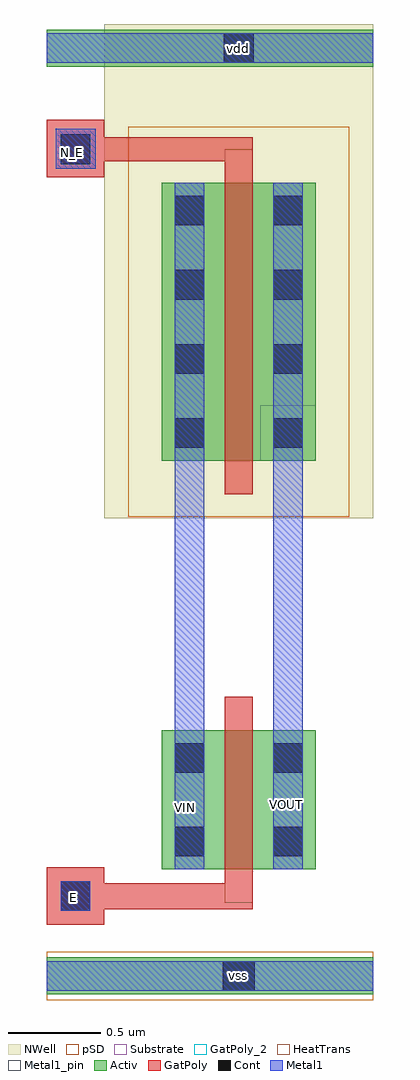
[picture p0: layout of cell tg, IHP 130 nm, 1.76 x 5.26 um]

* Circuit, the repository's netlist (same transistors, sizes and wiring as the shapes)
* Extracted by KLayout with SG13G2 LVS runset on : 12/03/2026 18:13

.SUBCKT tg
M$1 \$5 \$2 \$6 \$4 sg13_lv_nmos L=0.15u W=0.75u AS=0.255p AD=0.255p PS=2.18u
+ PD=2.18u
M$2 \$5 \$3 \$6 \$1 sg13_lv_pmos L=0.15u W=1.5u AS=0.51p AD=0.51p PS=3.68u
+ PD=3.68u
.ENDS tg

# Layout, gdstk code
import gdstk
lib = gdstk.Library(unit=1e-6, precision=5e-09)
def R(c, l, rs):  # rectangles x0, y0, x1, y1
    for r in rs: c.add(gdstk.rectangle(r[:2], r[2:], *l))
def A(c, l, x, y, w, h, nx, ny, dx, dy):  # array of equal rectangles
    R(c, l, [(x+i*dx, y+j*dy, x+i*dx+w, y+j*dy+h) for i in range(nx) for j in range(ny)])
Activ = (1, 0)
GatPoly = (5, 0)
GatPoly_2 = (5, 2)
Cont = (6, 0)
Metal1 = (8, 0)
Metal1_pin = (8, 2)
pSD = (14, 0)
NWell = (31, 0)
Substrate = (40, 0)
HeatTrans = (51, 0)

pmos_1 = lib.new_cell('pmos$1')
R(pmos_1, Activ, [(0,0,0.3,0.3), (0,0,0.83,1.5), (0.53,0,0.83,0.3)])
R(pmos_1, GatPoly, [(0.34,-0.18,0.49,1.68), (0.34,-0.18,0.49,1.68)])
A(pmos_1, Cont, 0.07, 0.07, 0.16, 0.16, 1, 4, 0, 0.4)
A(pmos_1, Cont, 0.6, 0.07, 0.16, 0.16, 1, 4, 0, 0.4)
R(pmos_1, Metal1, [(0.07,0,0.23,1.5), (0.07,0,0.23,1.5), (0.6,0,0.76,1.5), (0.6,0,0.76,1.5)])
R(pmos_1, pSD, [(-0.18,-0.3,1.01,1.8)])
R(pmos_1, NWell, [(-0.31,-0.31,1.14,1.81)])
R(pmos_1, Substrate, [(0.53,0,0.83,0.3)])
R(pmos_1, HeatTrans, [(0.34,-0.18,0.49,1.68)])
pmos_1.add(gdstk.Label('pmos', (0.415,0.75), layer=63, texttype=0))
pmos_1.add(gdstk.Label('pmos', (0.415,0.75), layer=51, texttype=0))

nmos_1 = lib.new_cell('nmos$1')
R(nmos_1, Activ, [(0,0,0.3,0.3), (0,0,0.83,0.75), (0.53,0,0.83,0.3)])
R(nmos_1, GatPoly, [(0.34,-0.18,0.49,0.93)])
R(nmos_1, GatPoly_2, [(0.34,-0.18,0.49,0.93)])
R(nmos_1, Cont, [(0.07,0.07,0.23,0.23), (0.6,0.07,0.76,0.23), (0.07,0.52,0.23,0.68), (0.6,0.52,0.76,0.68)])
R(nmos_1, Metal1, [(0.07,0,0.23,0.75), (0.6,0,0.76,0.75)])
R(nmos_1, Metal1_pin, [(0.07,0,0.23,0.75), (0.6,0,0.76,0.75)])
R(nmos_1, HeatTrans, [(0.34,-0.18,0.49,0.93)])
nmos_1.add(gdstk.Label('nmos', (0.415,0.375), layer=63, texttype=0))
nmos_1.add(gdstk.Label('nmos', (0.415,0.375), layer=51, texttype=0))

c_tg = lib.new_cell('tg')
R(c_tg, Activ, [(-1.035,-0.1,0.725,0.1), (-1.035,4.9,0.725,5.1)])
R(c_tg, GatPoly, [(-1.035,0.275,-0.725,0.585), (-0.725,0.36,0.075,0.5), (-1.035,4.305,-0.725,4.615), (-0.725,4.39,0.075,4.52)])
R(c_tg, Cont, [(-0.085,-0.08,0.085,0.08), (-0.96,0.35,-0.8,0.51), (-0.96,4.375,-0.8,4.535), (-0.08,4.92,0.08,5.08)])
R(c_tg, Metal1, [(-1.035,-0.08,0.725,0.08), (-0.085,-0.08,0.085,0.08), (-0.96,0.35,-0.8,0.51), (-0.345,0.83,-0.185,0.99), (0.185,0.83,0.345,0.99), (-0.345,1.06,-0.185,2.775), (0.185,1.06,0.345,2.775), (-0.985,4.35,-0.77,4.565), (-1.035,4.92,0.725,5.08), (-0.08,4.92,0.08,5.08)])
R(c_tg, Metal1_pin, [(-1.035,-0.08,0.725,0.08), (-0.085,-0.08,0.085,0.08), (-0.96,0.35,-0.8,0.51), (-0.345,0.83,-0.185,0.99), (0.185,0.83,0.345,0.99), (-0.96,4.375,-0.8,4.535), (-1.035,4.92,0.725,5.08), (-0.08,4.92,0.08,5.08)])
R(c_tg, pSD, [(-1.035,-0.13,0.725,0.13)])
R(c_tg, NWell, [(-0.725,4.585,0.725,5.13)])
c_tg.add(gdstk.Reference(pmos_1, (-0.415,2.775)))
c_tg.add(gdstk.Reference(nmos_1, (-0.415,0.575)))
c_tg.add(gdstk.Label('E', (-0.89,0.425), layer=8, texttype=2))
c_tg.add(gdstk.Label('vss', (0,0), layer=8, texttype=2))
c_tg.add(gdstk.Label('vdd', (0,5), layer=8, texttype=2))
c_tg.add(gdstk.Label('N_E', (-0.895,4.44), layer=8, texttype=2))
c_tg.add(gdstk.Label('VIN', (-0.285,0.91), layer=8, texttype=2))
c_tg.add(gdstk.Label('VOUT', (0.255,0.925), layer=8, texttype=2))

lib.write_gds('tg.gds')
